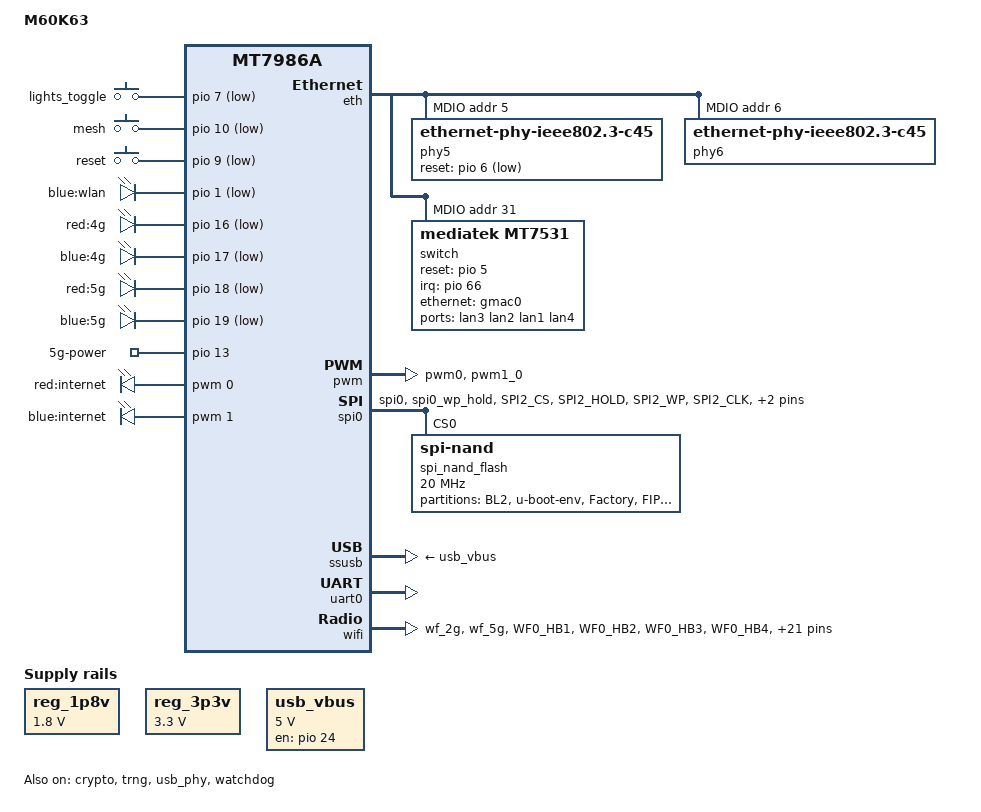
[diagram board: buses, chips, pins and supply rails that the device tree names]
// SPDX-License-Identifier: GPL-2.0-or-later OR MIT

/dts-v1/;
#include <dt-bindings/gpio/gpio.h>
#include <dt-bindings/input/input.h>
#include <dt-bindings/pinctrl/mt65xx.h>

#include "mt7986a.dtsi"

/ {
	model = "M60K63";
	compatible = "alwaylink,m60k63", "mediatek,mt7986a";

	aliases {
		label-mac-device = &gmac1;
		serial0 = &uart0;
		led-boot = &red_led;
		led-failsafe = &red_led;
		led-running = &blue_led;
		led-upgrade = &blue_led;
	};

	chosen {
		stdout-path = "serial0:115200n8";
	};

	keys {
		compatible = "gpio-keys";

		button-lights-toggle {
			label = "lights_toggle";
			linux,code = <KEY_LIGHTS_TOGGLE>;
			gpios = <&pio 7 GPIO_ACTIVE_LOW>;
		};

		button-mesh {
			label = "mesh";
			linux,code = <BTN_9>;
			linux,input-type = <EV_SW>;
			gpios = <&pio 10 GPIO_ACTIVE_LOW>;
		};

		button-reset {
			label = "reset";
			linux,code = <KEY_RESTART>;
			gpios = <&pio 9 GPIO_ACTIVE_LOW>;
		};
	};

	gpio-leds {
		compatible = "gpio-leds";

		led-0 {
			label = "blue:wlan";
			gpios = <&pio 1 GPIO_ACTIVE_LOW>;
		};

		led-1 {
			label = "red:4g";
			gpios = <&pio 16 GPIO_ACTIVE_LOW>;
		};

		led-2 {
			label = "blue:4g";
			gpios = <&pio 17 GPIO_ACTIVE_LOW>;
		};

		led-3 {
			label = "red:5g";
			gpios = <&pio 18 GPIO_ACTIVE_LOW>;
		};

		led-4 {
			label = "blue:5g";
			gpios = <&pio 19 GPIO_ACTIVE_LOW>;
		};
	};

	gpio-export {
		compatible = "gpio-export";

		5g-power {
			gpio-export,name = "5g-power";
			gpio-export,output = <0>;
			gpios = <&pio 13 GPIO_ACTIVE_HIGH>;
		};
	};

	
	pwm-leds {
        compatible = "pwm-leds";

		red_led: led-5 {
			label = "red:internet";
			pwms = <&pwm 0 10000>;
			active-low;
		};

		blue_led: led-6 {
			label = "blue:internet";
			pwms = <&pwm 1 10000>;
			active-low;
		};
	};

	reg_1p8v: regulator-1p8v {
		compatible = "regulator-fixed";
		regulator-name = "1.8vd";
		regulator-min-microvolt = <1800000>;
		regulator-max-microvolt = <1800000>;
		regulator-boot-on;
		regulator-always-on;
	};

	reg_3p3v: regulator-3p3v {
		compatible = "regulator-fixed";
		regulator-name = "fixed-3.3V";
		regulator-min-microvolt = <3300000>;
		regulator-max-microvolt = <3300000>;
		regulator-boot-on;
		regulator-always-on;
	};

	usb_vbus: regulator-usb-vbus {
		compatible = "regulator-fixed";
		regulator-name = "usb_vbus";
		regulator-min-microvolt = <5000000>;
		regulator-max-microvolt = <5000000>;
		gpios = <&pio 24 GPIO_ACTIVE_HIGH>;
		enable-active-high;
		regulator-boot-on;
	};
};

&crypto {
	status = "okay";
};

&eth {
	status = "okay";

	gmac0: mac@0 {
		compatible = "mediatek,eth-mac";
		reg = <0>;
		phy-mode = "2500base-x";
		nvmem-cells = <&macaddr_factory_4 1>;
		nvmem-cell-names = "mac-address";

		fixed-link {
			speed = <2500>;
			full-duplex;
			pause;
		};
	};

	gmac1: mac@1 {
		compatible = "mediatek,eth-mac";
		reg = <1>;
		phy-mode = "2500base-x";
		nvmem-cells = <&macaddr_factory_4 2>;
		nvmem-cell-names = "mac-address";
		phy-handle = <&phy6>;
	};

	mdio: mdio-bus {
		#address-cells = <1>;
		#size-cells = <0>;

		phy5: ethernet-phy@5 {
			compatible = "ethernet-phy-ieee802.3-c45";
			reg = <5>;
			realtek,aldps-enable;
			interrupt-parent = <&pio>;
			reset-gpios = <&pio 6 GPIO_ACTIVE_LOW>;
			reset-assert-us = <100000>;
			reset-deassert-us = <100000>;
			realtek,led-link-select = <0x0 0xa7 0xa7>;
			realtek,led-act-select = <0x2614>;
		};

		phy6: phy@6 {
			compatible = "ethernet-phy-ieee802.3-c45";
			reg = <6>;
			realtek,aldps-enable;
			interrupt-parent = <&pio>;
			realtek,led-link-select = <0x0 0xa7 0xa7>;
			realtek,led-act-select = <0x2612>;
		};

		switch: switch@1f {
			compatible = "mediatek,mt7531";
			reg = <31>;
			reset-gpios = <&pio 5 GPIO_ACTIVE_HIGH>;
			interrupt-controller;
			#interrupt-cells = <1>;
			interrupt-parent = <&pio>;
			interrupts = <66 IRQ_TYPE_LEVEL_HIGH>;

			ports {
				#address-cells = <1>;
				#size-cells = <0>;

				port@0 {
					reg = <0>;
					label = "lan3";
				};

				port@1 {
					reg = <1>;
					label = "lan2";
				};

				port@2 {
					reg = <2>;
					label = "lan1";
				};

				port@5 {
					reg = <5>;
					label = "lan4";
					phy-handle = <&phy5>;
					phy-mode = "2500base-x";
				};

				port@6 {
					reg = <6>;
					ethernet = <&gmac0>;
					phy-mode = "2500base-x";

					fixed-link {
						speed = <2500>;
						full-duplex;
						pause;
					};
				};
			};
		};
	};
};

&pio {
	pwm_pins: pwm-pins {
		mux {
			function = "pwm";
			groups = "pwm0", "pwm1_0";
		};
	};

	spi_flash_pins: spi-flash-pins-33-to-38 {
		mux {
			function = "spi";
			groups = "spi0", "spi0_wp_hold";
		};
		conf-pu {
			pins = "SPI2_CS", "SPI2_HOLD", "SPI2_WP";
			drive-strength = <MTK_DRIVE_8mA>;
			bias-disable; /* bias-disable */
		};
		conf-pd {
			pins = "SPI2_CLK", "SPI2_MOSI", "SPI2_MISO";
			drive-strength = <MTK_DRIVE_8mA>;
			bias-disable; /* bias-disable */
		};
	};

	wf_2g_5g_pins: wf_2g_5g-pins {
		mux {
			function = "wifi";
			groups = "wf_2g", "wf_5g";
		};
		conf {
			pins = "WF0_HB1", "WF0_HB2", "WF0_HB3", "WF0_HB4",
			       "WF0_HB0", "WF0_HB0_B", "WF0_HB5", "WF0_HB6",
			       "WF0_HB7", "WF0_HB8", "WF0_HB9", "WF0_HB10",
			       "WF0_TOP_CLK", "WF0_TOP_DATA", "WF1_HB1",
			       "WF1_HB2", "WF1_HB3", "WF1_HB4", "WF1_HB0",
			       "WF1_HB5", "WF1_HB6", "WF1_HB7", "WF1_HB8",
			       "WF1_TOP_CLK", "WF1_TOP_DATA";
			drive-strength = <MTK_DRIVE_4mA>;
		};
	};

};

&pwm {
	pinctrl-names = "default";
	pinctrl-0 = <&pwm_pins>;
	status = "okay";
};

&spi0 {
	pinctrl-names = "default";
	pinctrl-0 = <&spi_flash_pins>;
	status = "okay";

	spi_nand_flash: flash@0 {
		compatible = "spi-nand";
		reg = <0>;

		spi-max-frequency = <20000000>;
		spi-tx-bus-width = <4>;
		spi-rx-bus-width = <4>;

		partitions: partitions {
			compatible = "fixed-partitions";
			#address-cells = <1>;
			#size-cells = <1>;

			partition@0 {
				label = "BL2";
				reg = <0x0 0x100000>;
				read-only;
			};

			partition@100000 {
				label = "u-boot-env";
				reg = <0x100000 0x80000>;
			};

			partition@180000 {
				label = "Factory";
				reg = <0x180000 0x200000>;
				read-only;

				nvmem-layout {
					compatible = "fixed-layout";
					#address-cells = <1>;
					#size-cells = <1>;

					eeprom_factory_0: eeprom@0 {
						reg = <0x0 0x1000>;
					};

					macaddr_factory_4: macaddr@4 {
						compatible = "mac-base";
						reg = <0x4 0x6>;
						#nvmem-cell-cells = <1>;
					};
				};
			};

			partition@380000 {
				label = "FIP";
				reg = <0x380000 0x200000>;
			};

			partition@580000 {
				reg = <0x580000 0x00080000>;
				label = "config";
			};

			partition@600000 {
				label = "ubi";
				reg = <0x600000 0xe600000>;
			};

		};
	};
};

&ssusb {
	vusb33-supply = <&reg_3p3v>;
	vbus-supply = <&usb_vbus>;
	status = "okay";
};

&trng {
	status = "okay";
};

&uart0 {
	status = "okay";
};

&usb_phy {
	status = "okay";
};

&watchdog {
	status = "okay";
};

&wifi {
	nvmem-cells = <&eeprom_factory_0>;
	nvmem-cell-names = "eeprom";
	pinctrl-names = "default";
	pinctrl-0 = <&wf_2g_5g_pins>;
	status = "okay";
};
